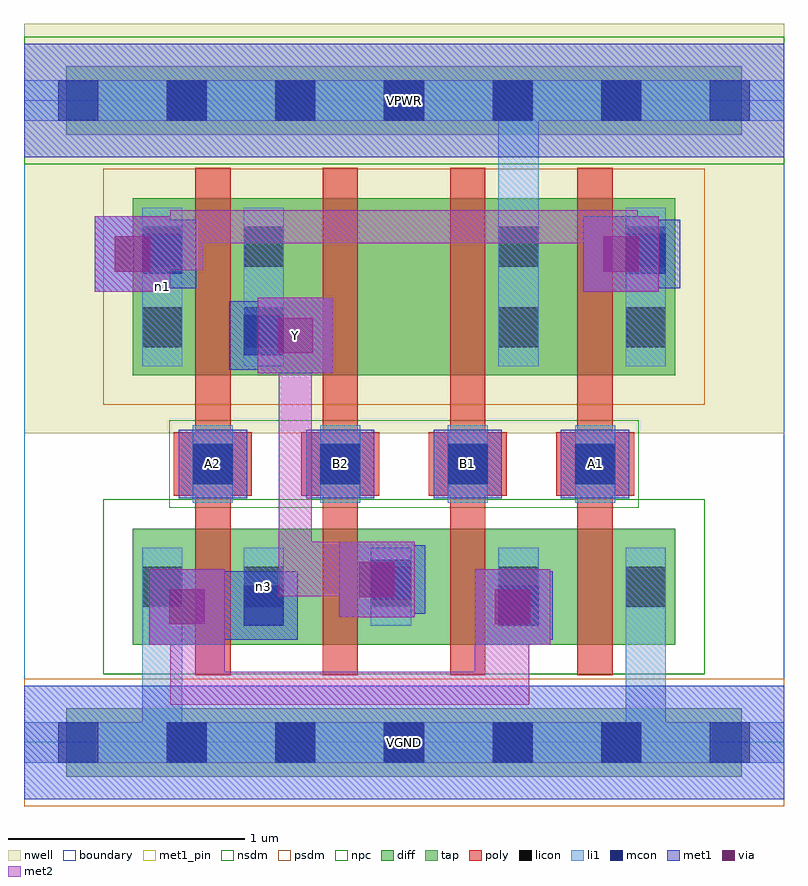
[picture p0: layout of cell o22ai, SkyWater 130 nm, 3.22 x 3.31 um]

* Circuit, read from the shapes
.subckt o22ai A1 A2 B1 B2 VGND VPWR Y n1 n3
XM1 n3 A2 VGND VGND sky130_fd_pr__nfet_01v8 w=0.49 l=0.15
XM2 Y B2 n3 VGND sky130_fd_pr__nfet_01v8 w=0.49 l=0.15
XM3 n3 B1 Y VGND sky130_fd_pr__nfet_01v8 w=0.49 l=0.15
XM4 VGND A1 n3 VGND sky130_fd_pr__nfet_01v8 w=0.49 l=0.15
XM5 Y A2 n1 VPWR sky130_fd_pr__pfet_01v8 w=0.75 l=0.15
XM6 n2 B2 Y VPWR sky130_fd_pr__pfet_01v8 w=0.75 l=0.15
XM7 VPWR B1 n2 VPWR sky130_fd_pr__pfet_01v8 w=0.75 l=0.15
XM8 n1 A1 VPWR VPWR sky130_fd_pr__pfet_01v8 w=0.75 l=0.15
.ends

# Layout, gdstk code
import gdstk
lib = gdstk.Library(unit=1e-6, precision=1e-09)
def R(c, l, rs):  # rectangles x0, y0, x1, y1
    for r in rs: c.add(gdstk.rectangle(r[:2], r[2:], *l))
def A(c, l, x, y, w, h, nx, ny, dx, dy):  # array of equal rectangles
    R(c, l, [(x+i*dx, y+j*dy, x+i*dx+w, y+j*dy+h) for i in range(nx) for j in range(ny)])
nwell = (64, 20)
diff = (65, 20)
tap = (65, 44)
poly = (66, 20)
licon = (66, 44)
li1 = (67, 20)
mcon = (67, 44)
met1_pin = (68, 16)
met1 = (68, 20)
via = (68, 44)
met2 = (69, 20)
nsdm = (93, 44)
psdm = (94, 20)
npc = (95, 20)
boundary = (235, 4)

o22ai = lib.new_cell('o22ai')
R(o22ai, nwell, [(0,1.31,3.22,3.045)])
R(o22ai, diff, [(0.46,0.415,2.76,0.905), (0.46,1.555,2.76,2.305)])
R(o22ai, tap, [(0.18,-0.145,3.04,0.145), (0.18,2.575,3.04,2.865)])
A(o22ai, poly, 0.725, 0.285, 0.15, 2.15, 4, 1, 0.54, 0)
A(o22ai, poly, 0.635, 1.045, 0.33, 0.27, 4, 1, 0.54, 0)
A(o22ai, licon, 0.605, -0.085, 0.17, 0.17, 5, 2, 0.46, 2.72)
A(o22ai, licon, 0.93, 0.575, 0.17, 0.17, 4, 1, 0.54, 0)
A(o22ai, licon, 0.715, 1.095, 0.17, 0.17, 4, 1, 0.54, 0)
R(o22ai, licon, [(0.5,0.575,0.67,0.745), (0.5,1.675,0.67,1.845), (0.93,1.675,1.1,1.845), (2.01,1.675,2.18,1.845), (2.55,1.675,2.72,1.845), (0.5,2.015,0.67,2.185), (0.93,2.015,1.1,2.185), (2.01,2.015,2.18,2.185), (2.55,2.015,2.72,2.185)])
A(o22ai, li1, 0.93, 0.495, 0.17, 0.33, 4, 1, 0.54, 0)
A(o22ai, li1, 0.715, 1.015, 0.17, 0.33, 4, 1, 0.54, 0)
R(o22ai, li1, [(0,-0.085,3.22,0.085), (0.5,-0.085,0.67,0.825), (2.55,-0.085,2.72,0.825), (0.5,0.495,0.67,0.825), (0.5,1.595,0.67,2.265), (0.93,1.595,1.1,2.265), (2.01,1.595,2.18,2.265), (2.01,1.595,2.18,2.805), (2.55,1.595,2.72,2.265), (0,2.635,3.22,2.805)])
A(o22ai, mcon, 0.145, -0.085, 0.17, 0.17, 7, 2, 0.46, 2.72)
A(o22ai, mcon, 0.715, 1.095, 0.17, 0.17, 4, 1, 0.54, 0)
R(o22ai, mcon, [(0.93,0.495,1.1,0.665), (2.01,0.495,2.18,0.665), (1.47,0.605,1.64,0.775), (0.93,1.64,1.1,1.81), (0.5,1.985,0.67,2.155), (2.55,1.985,2.72,2.155)])
A(o22ai, met1_pin, 0.655, 1.035, 0.29, 0.29, 4, 1, 0.54, 0)
R(o22ai, met1_pin, [(0,-0.24,3.22,0.24), (0.99,1.565,1.31,1.885), (0,2.48,3.22,2.96)])
A(o22ai, met1, 0.655, 1.035, 0.29, 0.29, 4, 1, 0.54, 0)
R(o22ai, met1, [(0,-0.24,3.22,0.24), (0.53,0.415,0.85,0.735), (1.91,0.415,2.23,0.735), (0.85,0.435,0.87,0.725), (0.87,0.435,1.16,0.725), (1.95,0.435,2.24,0.725), (0.62,0.505,0.99,0.645), (0.85,0.505,0.99,0.65), (2,0.505,2.14,0.65), (0.85,0.51,1.085,0.65), (2,0.51,2.165,0.65), (1.335,0.53,1.655,0.85), (1.41,0.545,1.7,0.835), (1.425,0.62,1.625,0.76), (0.99,1.565,1.31,1.885), (0.87,1.58,1.16,1.87), (0.945,1.655,1.22,1.795), (0.3,1.91,0.62,2.23), (2.37,1.91,2.69,2.23), (0.44,1.925,0.73,2.215), (2.49,1.925,2.78,2.215), (0.39,2,0.655,2.14), (2.46,2,2.705,2.14), (0,2.48,3.22,2.96)])
R(o22ai, via, [(0.615,0.5,0.765,0.65), (1.995,0.5,2.145,0.65), (1.42,0.615,1.57,0.765), (1.075,1.65,1.225,1.8), (0.385,1.995,0.535,2.145), (2.455,1.995,2.605,2.145)])
R(o22ai, met2, [(0.62,0.16,0.76,0.645), (0.62,0.16,2.14,0.3), (2,0.16,2.14,0.645), (0.62,0.3,0.85,0.415), (1.91,0.3,2.14,0.415), (0.53,0.415,0.85,0.735), (1.91,0.415,2.23,0.735), (1.335,0.53,1.655,0.85), (1.08,0.62,1.22,1.795), (1.08,0.62,1.565,0.76), (1.22,0.62,1.335,0.85), (0.99,1.565,1.31,1.885), (0.3,1.91,0.62,2.23), (2.37,1.91,2.69,2.23), (0.39,2,0.76,2.14), (0.62,2,0.76,2.255), (2.46,2,2.6,2.255), (0.62,2.115,2.6,2.255)])
R(o22ai, nsdm, [(0.335,0.29,2.885,1.03), (0,2.45,3.22,2.99)])
R(o22ai, psdm, [(0,-0.27,3.22,0.27), (0.335,1.43,2.885,2.43)])
R(o22ai, npc, [(0.615,0.995,2.605,1.365)])
R(o22ai, boundary, [(0,0,3.22,2.72)])
o22ai.add(gdstk.Label('n3', (1.015,0.66), layer=67, texttype=5))
o22ai.add(gdstk.Label('n1', (0.585,1.93), layer=67, texttype=5))
o22ai.add(gdstk.Label('A1', (2.42,1.18), layer=68, texttype=5))
o22ai.add(gdstk.Label('A2', (0.8,1.18), layer=68, texttype=5))
o22ai.add(gdstk.Label('B1', (1.88,1.18), layer=68, texttype=5))
o22ai.add(gdstk.Label('B2', (1.34,1.18), layer=68, texttype=5))
o22ai.add(gdstk.Label('Y', (1.15,1.725), layer=68, texttype=5))
o22ai.add(gdstk.Label('VPWR', (1.61,2.72), layer=68, texttype=5))
o22ai.add(gdstk.Label('VGND', (1.61,0), layer=68, texttype=5))
o22ai.add(gdstk.Label('A1', (2.42,1.18), layer=68, texttype=16))
o22ai.add(gdstk.Label('A2', (0.8,1.18), layer=68, texttype=16))
o22ai.add(gdstk.Label('B1', (1.88,1.18), layer=68, texttype=16))
o22ai.add(gdstk.Label('B2', (1.34,1.18), layer=68, texttype=16))
o22ai.add(gdstk.Label('Y', (1.15,1.725), layer=68, texttype=16))
o22ai.add(gdstk.Label('VPWR', (1.61,2.72), layer=68, texttype=16))
o22ai.add(gdstk.Label('VGND', (1.61,0), layer=68, texttype=16))

lib.write_gds('o22ai.gds')
